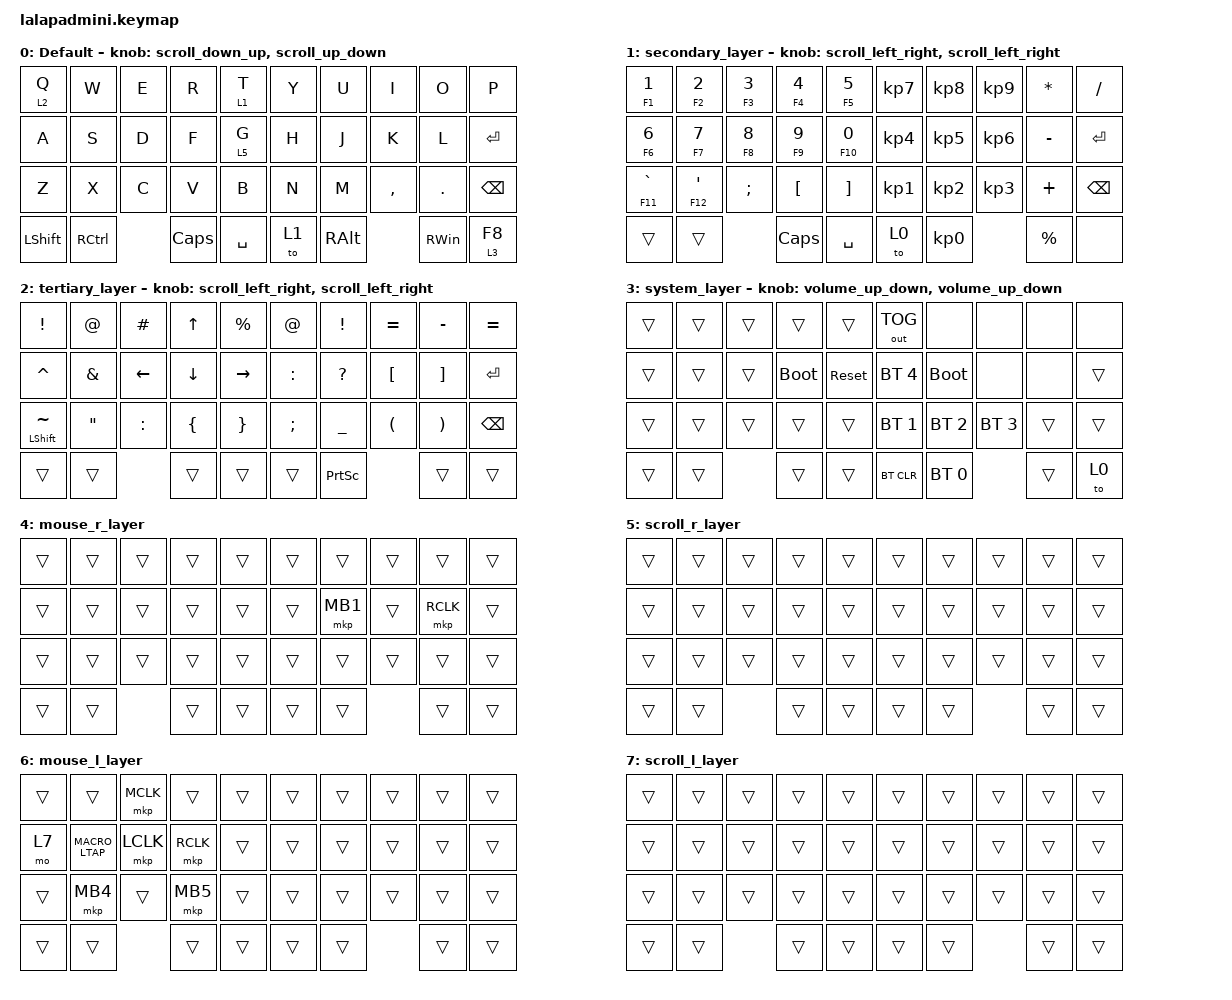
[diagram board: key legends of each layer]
#include <input/processors.dtsi>
#include <behaviors.dtsi>
#include <dt-bindings/zmk/bt.h>
#include <dt-bindings/zmk/keys.h>
#include <dt-bindings/zmk/outputs.h>
#include <dt-bindings/zmk/pointing.h>

#define DEFAULT_LAYER   0
#define SECONDARY_LAYER 1
#define TERTIARY_LAYER  2
#define SYSTEM_LAYER    3
#define MOUSE_R_LAYER   4
#define SCROLL_R_LAYER  5
#define MOUSE_L_LAYER   6
#define SCROLL_L_LAYER  7

// Mouse Scroll Value

#define ZMK_POINTING_DEFAULT_SCRL_VAL 100

// cirque trackpad input&layer control

&glidepoint_listener_R {
    input-processors =
        <&zip_xy_transform (INPUT_TRANSFORM_XY_SWAP | INPUT_TRANSFORM_X_INVERT | INPUT_TRANSFORM_Y_INVERT)>,
        <&zip_xy_scaler 3 2>,
        <&zip_temp_layer MOUSE_R_LAYER 300>;

    lowspeedmode {
        layers = <SECONDARY_LAYER>;
        input-processors =
            <&zip_xy_transform (INPUT_TRANSFORM_XY_SWAP | INPUT_TRANSFORM_X_INVERT | INPUT_TRANSFORM_Y_INVERT)>,
            <&zip_xy_scaler 3 5>,
            <&zip_temp_layer MOUSE_R_LAYER 300>;
    };

    scroller {
        layers = <SCROLL_R_LAYER>;
        input-processors =
            <&zip_xy_to_scroll_mapper>,
            <&zip_scroll_transform (INPUT_TRANSFORM_XY_SWAP | INPUT_TRANSFORM_Y_INVERT)>,
            <&zip_scroll_scaler 1 32>;
    };
};

&glidepoint_listener_L {
    input-processors =
        <&zip_xy_transform (INPUT_TRANSFORM_XY_SWAP | INPUT_TRANSFORM_X_INVERT | INPUT_TRANSFORM_Y_INVERT)>,
        <&zip_xy_scaler 3 2>,
        <&zip_temp_layer MOUSE_L_LAYER 300>;

    lowspeedmode {
        layers = <TERTIARY_LAYER>;
        input-processors =
            <&zip_xy_transform (INPUT_TRANSFORM_XY_SWAP | INPUT_TRANSFORM_X_INVERT | INPUT_TRANSFORM_Y_INVERT)>,
            <&zip_xy_scaler 3 4>,
            <&zip_temp_layer MOUSE_L_LAYER 300>;
    };

    scroller {
        layers = <SCROLL_L_LAYER>;
        input-processors =
            <&zip_xy_to_scroll_mapper>,
            <&zip_scroll_transform (INPUT_TRANSFORM_XY_SWAP | INPUT_TRANSFORM_Y_INVERT)>,
            <&zip_scroll_scaler 1 32>;
    };
};

&mt { quick-tap-ms = <200>; };

&lt { quick-tap-ms = <200>; };

/ {
    behaviors {
        // Encoder to Mouse Scroll

        scroll_up_down: behavior_sensor_rotate_mouse_wheel_up_down {
            compatible = "zmk,behavior-sensor-rotate";
            #sensor-binding-cells = <0>;
            bindings = <&msc SCRL_UP>, <&msc SCRL_DOWN>;

            tap-ms = <20>;
        };

        scroll_down_up: behavior_sensor_rotate_mouse_wheel_down_up {
            compatible = "zmk,behavior-sensor-rotate";
            #sensor-binding-cells = <0>;
            bindings = <&msc SCRL_DOWN>, <&msc SCRL_UP>;

            tap-ms = <20>;
        };

        scroll_left_right: behavior_sensor_rotate_mouse_wheel_left_right {
            compatible = "zmk,behavior-sensor-rotate";
            #sensor-binding-cells = <0>;
            bindings = <&msc SCRL_LEFT>, <&msc SCRL_RIGHT>;

            tap-ms = <20>;
        };

        scroll_right_left: behavior_sensor_rotate_mouse_wheel_right_left {
            compatible = "zmk,behavior-sensor-rotate";
            #sensor-binding-cells = <0>;
            bindings = <&msc SCRL_RIGHT>, <&msc SCRL_LEFT>;

            tap-ms = <20>;
        };

        volume_up_down: behavior_sensor_rotate_volume_up_down {
            compatible = "zmk,behavior-sensor-rotate";
            #sensor-binding-cells = <0>;
            bindings = <&kp C_VOLUME_UP>, <&kp C_VOLUME_DOWN>;

            tap-ms = <20>;
        };

        mt2: mod_tap2 {
            compatible = "zmk,behavior-hold-tap";
            #binding-cells = <2>;
            flavor = "tap-preferred";
            tapping-term-ms = <200>;
            quick-tap-ms = <200>;
            require-prior-idle-ms = <125>;
            bindings = <&kp>, <&kp>;
        };

        tap_dance_layer_1and2: tap_dance_layer_1and2 {
            compatible = "zmk,behavior-tap-dance";
            label = "td_mo12";
            #binding-cells = <0>;
            bindings = <&mo 1>, <&mo 2>;
        };
    };

    combos { compatible = "zmk,combos"; };

    macros {
        MACRO_LTAP: MACRO_LTAP {
            compatible = "zmk,behavior-macro";
            #binding-cells = <0>;
            bindings = <&mkp LCLK>;
            label = "MACRO_LTAP";
        };
    };

    keymap {
        compatible = "zmk,keymap";

        DEFAULT_LAYER {
            display-name = "Default";
            sensor-bindings = <&scroll_down_up>, <&scroll_up_down>;

            bindings = <
&lt 2 Q         &kp W      &kp E  &kp R     &lt 1 T    &kp Y  &kp U          &kp I      &kp O          &kp P
&kp A           &kp S      &kp D  &kp F     &lt 5 G    &kp H  &kp J          &kp K      &kp L          &kp ENTER
&kp Z           &kp X      &kp C  &kp V     &kp B      &kp N  &kp M          &kp COMMA  &kp PERIOD     &kp BSPC
&kp LEFT_SHIFT  &kp RCTRL         &kp CAPS  &kp SPACE  &to 1  &kp RIGHT_ALT             &kp RIGHT_WIN  &lt 3 F8
            >;
        };

        SECONDARY_LAYER {
            display-name = "secondary_layer";
            sensor-bindings = <&scroll_left_right>, <&scroll_left_right>;

            bindings = <
&mt2 F1 NUMBER_1  &mt2 F2 NUMBER_2  &mt2 F3 NUMBER_3  &mt2 F4 NUMBER_4  &mt2 F5 N5         &kp KP_NUMBER_7  &kp KP_NUMBER_8  &kp KP_NUMBER_9  &kp ASTERISK  &kp SLASH
&mt2 F6 NUMBER_6  &mt2 F7 N7        &mt2 F8 N8        &mt2 F9 N9        &mt2 F10 N0        &kp KP_NUMBER_4  &kp KP_NUMBER_5  &kp KP_NUMBER_6  &kp MINUS     &kp ENTER
&mt2 F11 GRAVE    &mt2 F12 SQT      &kp SEMICOLON     &kp LEFT_BRACKET  &kp RIGHT_BRACKET  &kp KP_NUMBER_1  &kp KP_NUMBER_2  &kp KP_NUMBER_3  &kp PLUS      &kp BACKSPACE
&trans            &trans                              &kp CAPS          &kp SPACE          &to 0            &kp KP_NUMBER_0                   &kp PERCENT   &none
            >;
        };

        TERTIARY_LAYER {
            display-name = "tertiary_layer";
            bindings = <
&kp EXCLAMATION       &kp AT_SIGN        &kp HASH        &kp UP_ARROW    &kp PERCENT      &kp AT_SIGN    &kp EXCLAMATION  &kp EQUAL             &kp MINUS              &kp EQUAL
&kp CARET             &kp AMPERSAND      &kp LEFT_ARROW  &kp DOWN_ARROW  &kp RIGHT_ARROW  &kp COLON      &kp QUESTION     &kp LEFT_BRACKET      &kp RIGHT_BRACKET      &kp ENTER
&mt LEFT_SHIFT TILDE  &kp DOUBLE_QUOTES  &kp COLON       &kp LEFT_BRACE  &kp RIGHT_BRACE  &kp SEMICOLON  &kp UNDER        &kp LEFT_PARENTHESIS  &kp RIGHT_PARENTHESIS  &kp BACKSPACE
&trans                &trans                             &trans          &trans           &trans         &kp PRINTSCREEN                        &trans                 &trans
            >;

            sensor-bindings = <&scroll_left_right>, <&scroll_left_right>;
        };

        SYSTEM_LAYER {
            display-name = "system_layer";
            sensor-bindings = <&volume_up_down>, <&volume_up_down>;

            bindings = <
&trans  &trans  &trans  &trans       &trans      &out OUT_TOG  &none         &none         &none   &none
&trans  &trans  &trans  &bootloader  &sys_reset  &bt BT_SEL 4  &bootloader   &none         &none   &trans
&trans  &trans  &trans  &trans       &trans      &bt BT_SEL 1  &bt BT_SEL 2  &bt BT_SEL 3  &trans  &trans
&trans  &trans          &trans       &trans      &bt BT_CLR    &bt BT_SEL 0                &trans  &to 0
            >;
        };

        MOUSE_R_LAYER {
            display-name = "mouse_r_layer";
            bindings = <
&trans  &trans  &trans  &trans  &trans  &trans  &trans    &trans  &trans     &trans
&trans  &trans  &trans  &trans  &trans  &trans  &mkp MB1  &trans  &mkp RCLK  &trans
&trans  &trans  &trans  &trans  &trans  &trans  &trans    &trans  &trans     &trans
&trans  &trans          &trans  &trans  &trans  &trans            &trans     &trans
            >;
        };

        SCROLL_R_LAYER {
            display-name = "scroll_r_layer";
            bindings = <
&trans  &trans  &trans  &trans  &trans  &trans  &trans  &trans  &trans  &trans
&trans  &trans  &trans  &trans  &trans  &trans  &trans  &trans  &trans  &trans
&trans  &trans  &trans  &trans  &trans  &trans  &trans  &trans  &trans  &trans
&trans  &trans          &trans  &trans  &trans  &trans          &trans  &trans
            >;
        };

        MOUSE_L_LAYER {
            display-name = "mouse_l_layer";
            bindings = <
&trans  &trans       &mkp MCLK  &trans     &trans  &trans  &trans  &trans  &trans  &trans
&mo 7   &MACRO_LTAP  &mkp LCLK  &mkp RCLK  &trans  &trans  &trans  &trans  &trans  &trans
&trans  &mkp MB4     &trans     &mkp MB5   &trans  &trans  &trans  &trans  &trans  &trans
&trans  &trans                  &trans     &trans  &trans  &trans          &trans  &trans
            >;
        };

        SCROLL_L_LAYER {
            display-name = "scroll_l_layer";
            bindings = <
&trans  &trans  &trans  &trans  &trans  &trans  &trans  &trans  &trans  &trans
&trans  &trans  &trans  &trans  &trans  &trans  &trans  &trans  &trans  &trans
&trans  &trans  &trans  &trans  &trans  &trans  &trans  &trans  &trans  &trans
&trans  &trans          &trans  &trans  &trans  &trans          &trans  &trans
            >;
        };
    };

    conditional_layers { compatible = "zmk,conditional-layers"; };
};
